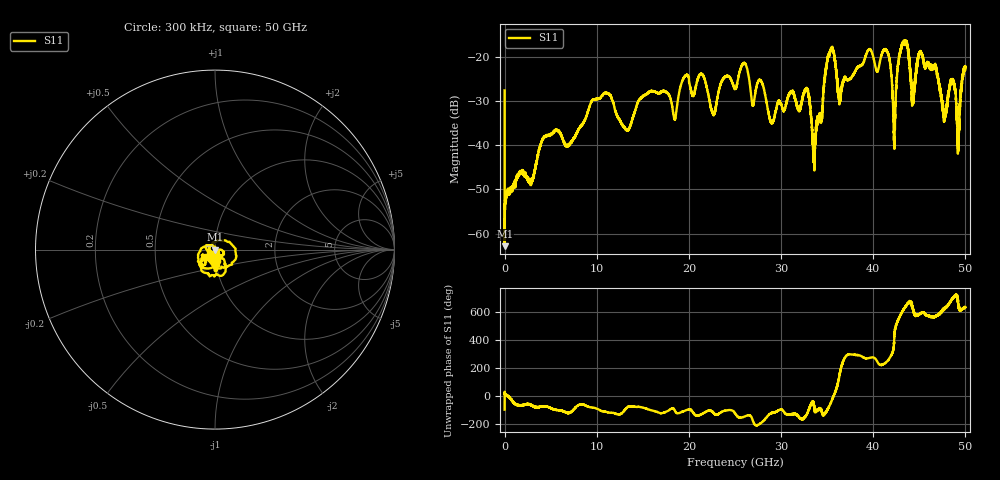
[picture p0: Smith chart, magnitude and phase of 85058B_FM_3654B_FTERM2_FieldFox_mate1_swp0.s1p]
!Created with skrf (http://scikit-rf.org).
# Hz S RI R 50.0
!freq ReS11 ImS11
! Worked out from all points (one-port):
!   10001 points, 300 kHz to 50 GHz, reference 50 ohm
!   lowest |S11| = -62.8 dB at 5.3 MHz (marker M1), VSWR 1.00, Z = 50.1 - j0.0325 ohm
!   |S11| at or under -10 dB: start of sweep to end of sweep
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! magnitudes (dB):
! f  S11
! 300 kHz  -27.6
! 5.3 MHz  -62.8
! 255.3 MHz  -50.8
! 6.25 GHz  -38.4
! 10.92 GHz  -28.2
! 12.5 GHz  -34.4
! 18.75 GHz  -30.5
! 19.69 GHz  -24.2
! 22.65 GHz  -33.0
! 25 GHz  -27.3
! 26.08 GHz  -21.5
! 28.99 GHz  -35.0
! 31.25 GHz  -27.9
! 32.85 GHz  -27.4
! 33.59 GHz  -42.6
! 35.33 GHz  -18.9
! 36.34 GHz  -29.8
! 37.5 GHz  -25.1
! 41.37 GHz  -18.5
! 42.29 GHz  -38.2
! 42.96 GHz  -18.8
! 43.75 GHz  -17.7
! 44.3 GHz  -29.1
! 45.16 GHz  -19.1
! 47.71 GHz  -32.7
! 48.66 GHz  -26.1
! 49.22 GHz  -39.9
! 50 GHz  -22.9
